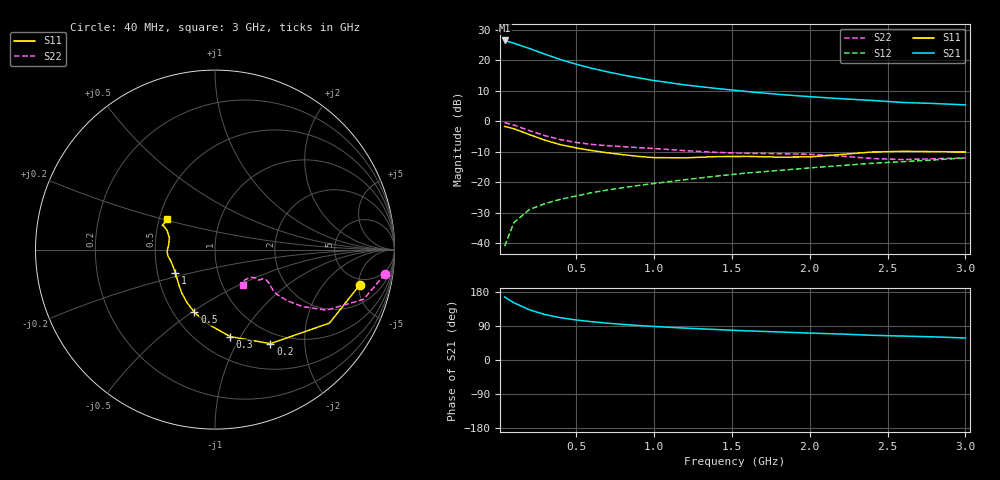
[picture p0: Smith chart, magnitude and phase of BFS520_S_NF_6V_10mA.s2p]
! Filename:  BFS520I.S2P  Version:  4.0
! Philips part #: BFS520  Date: Jun 1994
! Bias condition: Vce=6V, Ic=10mA
#  MHz  S  MA  R  50
! Freq  S11  S21  S12  S22  !GUM [dB]
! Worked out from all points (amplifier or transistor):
!   21 points, 40 MHz to 3 GHz, reference 50 ohm
!   highest |S21| = 26.6 dB at 40 MHz (marker M1)
!   |S21| within 3 dB of that: start of sweep to 219.1 MHz
!   unconditionally stable (mu >= 1): 875.7 MHz to end of sweep
!   at 300 MHz: K = 0.61, MSG = 24.5 dB, |S12| = -26.9 dB
!   at 1 GHz: K = 1.04, MAG = 15.6 dB, |S12| = -20.4 dB
!   at 3 GHz: K = 1.06, MAG = 7.2 dB, |S12| = -12.0 dB
!   lowest NFmin = 1.10 dB at 500 MHz
!   S11 on the Smith chart (normalised r, x): 40 MHz: 4.09, -5.16; 200 MHz: 0.84, -1.39; 300 MHz: 0.71, -0.90; 500 MHz: 0.63, -0.51; 1 GHz: 0.62, -0.17; 3 GHz: 0.55, +0.21
40  0.83 -13.7  21.31 166.3  0.009 82.2  0.957 -8.2
100  0.758 -32.7  19.2 151.0  0.022 72.8  0.873 -18.5
200  0.608 -59.5  15.71 132.4  0.036 63.4  0.707 -28.5
300  0.492 -80.1  12.68 119.9  0.045 60.5  0.584 -33.0
400  0.415 -95.9  10.35 111.5  0.053 60.1  0.503 -35.0
500  0.368 -108.2  8.684 105.6  0.06 60.9  0.452 -35.8
600  0.333 -118.1  7.455 101.0  0.068 62.3  0.42 -35.8
700  0.306 -126.8  6.519 97.2  0.075 63.8  0.4 -35.4
800  0.285 -134.4  5.778 93.9  0.082 64.9  0.386 -34.4
900  0.267 -142.1  5.184 91.0  0.089 66.0  0.372 -33.3
1000  0.255 -149.9  4.689 88.5  0.096 66.8  0.36 -32.2
1200  0.253 -164.0  3.971 84.1  0.111 68.2  0.332 -30.6
1400  0.265 -172.8  3.479 80.4  0.127 69.4  0.311 -31.5
1600  0.267 -178.4  3.09 76.8  0.143 69.5  0.3 -34.3
1800  0.26 175.5  2.782 74.1  0.157 70.3  0.296 -35.1
2000  0.262 165.7  2.547 71.0  0.173 70.4  0.289 -34.7
2200  0.287 158.3  2.362 68.6  0.189 70.8  0.27 -35.2
2400  0.315 155.1  2.211 65.2  0.206 70.6  0.247 -39.0
2600  0.324 155.3  2.047 63.1  0.219 70.0  0.237 -45.8
2800  0.32 153.4  1.97 61.0  0.234 70.3  0.245 -50.5
3000  0.315 147.5  1.871 58.1  0.252 69.9  0.251 -52.0
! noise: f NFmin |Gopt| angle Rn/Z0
500  1.1  0.25  48  0.23
900  1.25  0.21  49  0.23
2000  1.9  0.23  162  0.15
